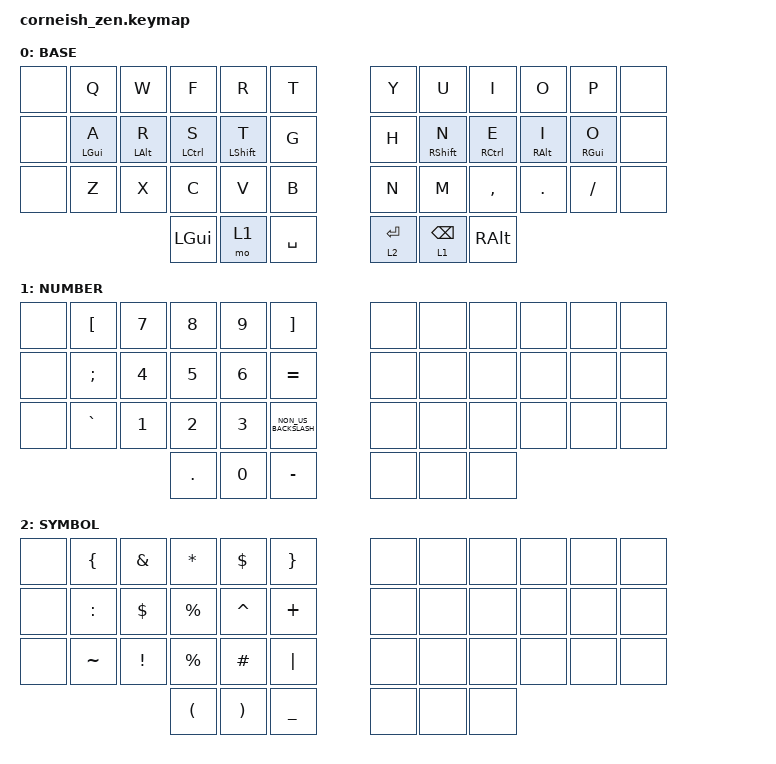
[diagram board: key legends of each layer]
#include <behaviors.dtsi>
#include <dt-bindings/zmk/keys.h>

/ {
    chosen { zmk,physical-layout = &foostan_corne_5col_layout; };
};

/ {
    behaviors {
        HMShiftR: HMShiftR {
            compatible = "zmk,behavior-hold-tap";
            label = "HMSHIFTR";
            bindings = <&kp>, <&kp>;

            #binding-cells = <2>;
            tapping-term-ms = <200>;
            hold-while-undecided;
            hold-trigger-key-positions = <0 1 2 3 4 5 12 13 14 15 16 17 24 25 26 27 28 29 36 37 38>;
            hold-trigger-on-release;
        };

        HMShiftL: HMShiftL {
            compatible = "zmk,behavior-hold-tap";
            label = "HMSHIFTL";
            bindings = <&kp>, <&kp>;

            #binding-cells = <2>;
            tapping-term-ms = <200>;
            hold-while-undecided;
            hold-trigger-on-release;
            hold-trigger-key-positions = <11 9 35 34 33 32 30 31 39 40 41 18 19 20 21 22 23 10 8 7 6>;
        };

        HMR: HMR {
            compatible = "zmk,behavior-hold-tap";
            label = "HMR";
            bindings = <&kp>, <&kp>;

            #binding-cells = <2>;
            tapping-term-ms = <200>;
            hold-while-undecided;
            hold-trigger-key-positions = <0 1 2 3 4 5 12 13 14 15 16 17 24 25 26 27 28 29 36 37 38>;
            hold-trigger-on-release;
            flavor = "tap-preferred";
        };

        HML: HML {
            compatible = "zmk,behavior-hold-tap";
            label = "HML";
            bindings = <&kp>, <&kp>;

            #binding-cells = <2>;
            tapping-term-ms = <200>;
            hold-while-undecided;
            hold-trigger-on-release;
            hold-trigger-key-positions = <11 9 35 34 33 32 30 31 39 40 41 18 19 20 21 22 23 10 8 7 6>;
            flavor = "tap-preferred";
        };
    };

    keymap {
        compatible = "zmk,keymap";

        default_layer {
            display-name = "BASE";

            // --------------------------------------------------------------------------------
            // |  TAB |  Q  |  W  |  E  |  R  |  T  |   |  Y  |  U   |  I  |  O  |  P  | BSPC |
            // | CTRL |  A  |  S  |  D  |  F  |  G  |   |  H  |  J   |  K  |  L  |  ;  |  '   |
            // | SHFT |  Z  |  X  |  C  |  V  |  B  |   |  N  |  M   |  ,  |  .  |  /  | ESC  |
            //                    | GUI | LWR | SPC |   | ENT | RSE  | ALT |

            bindings = <
&none  &kp Q            &kp W            &kp F         &kp R                   &kp T        &kp Y         &kp U                    &kp I         &kp O             &kp P             &none
&none  &HML LEFT_GUI A  &HML LEFT_ALT R  &HML LCTRL S  &HMShiftL LEFT_SHIFT T  &kp G        &kp H         &HMShiftR RIGHT_SHIFT N  &HMR RCTRL E  &HMR RIGHT_ALT I  &HMR RIGHT_GUI O  &none
&none  &kp Z            &kp X            &kp C         &kp V                   &kp B        &kp N         &kp M                    &kp COMMA     &kp DOT           &kp FSLH          &none
                                         &kp LGUI      &mo 1                   &kp SPACE    &lt 2 RETURN  &lt 1 BACKSPACE          &kp RALT
            >;
        };

        lower_layer {
            display-name = "NUMBER";

            // -----------------------------------------------------------------------------------------
            // |  TAB |  1  |  2  |  3  |  4  |  5  |   |  6  |  7  |  8  |  9  |  0  | BSPC |
            // | BTCLR| BT1 | BT2 | BT3 | BT4 | BT5 |   | LFT | DWN |  UP | RGT |     |Studio|
            // | SHFT |     |     |     |     |     |   |     |     |     |     |     |      |
            //                    | GUI |     | SPC |   | ENT |     | ALT |

            bindings = <
&none  &kp LEFT_BRACKET  &kp N7        &kp N8        &kp N9        &kp RIGHT_BRACKET       &none  &none  &none  &none  &none  &none
&none  &kp SEMICOLON     &kp NUMBER_4  &kp N5        &kp NUMBER_6  &kp EQUAL               &none  &none  &none  &none  &none  &none
&none  &kp GRAVE         &kp NUMBER_1  &kp NUMBER_2  &kp NUMBER_3  &kp NON_US_BACKSLASH    &none  &none  &none  &none  &none  &none
                                       &kp PERIOD    &kp N0        &kp MINUS               &none  &none  &none
            >;
        };

        raise_layer {
            display-name = "SYMBOL";

            // -----------------------------------------------------------------------------------------
            // |  TAB |  !  |  @  |  #  |  $  |  %  |   |  ^  |  &  |  *  |  (  |  )  | BSPC |
            // | CTRL |     |     |     |     |     |   |  -  |  =  |  [  |  ]  |  \  |  `   |
            // | SHFT |     |     |     |     |     |   |  _  |  +  |  {  |  }  | "|" |  ~   |
            //                    | GUI |     | SPC |   | ENT |     | ALT |

            bindings = <
&none  &kp LEFT_BRACE  &kp AMPERSAND    &kp ASTERISK          &kp DLLR               &kp RIGHT_BRACE    &none  &none  &none  &none  &none  &none
&none  &kp COLON       &kp DOLLAR       &kp PERCENT           &kp CARET              &kp PLUS           &none  &none  &none  &none  &none  &none
&none  &kp TILDE       &kp EXCLAMATION  &kp PERCENT           &kp HASH               &kp PIPE           &none  &none  &none  &none  &none  &none
                                        &kp LEFT_PARENTHESIS  &kp RIGHT_PARENTHESIS  &kp UNDERSCORE     &none  &none  &none
            >;
        };
    };
};
